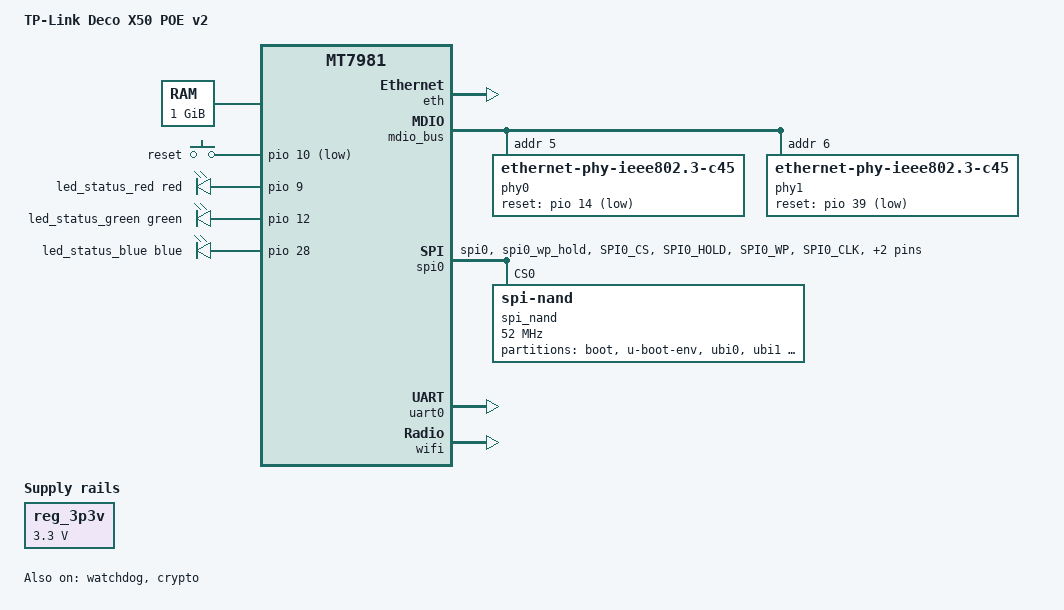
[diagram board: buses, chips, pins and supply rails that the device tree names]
// SPDX-License-Identifier: GPL-2.0-or-later OR MIT

/dts-v1/;

#include <dt-bindings/gpio/gpio.h>
#include <dt-bindings/input/input.h>
#include <dt-bindings/leds/common.h>
#include "mt7981b.dtsi"

/ {
	model = "TP-Link Deco X50 POE v2";
	compatible = "tplink,x50poev2", "mediatek,mt7981";

    //OK
	aliases {
        ethernet0 = &gmac0;
        ethernet1 = &gmac1;
		led-boot = &led_status_green;
		led-failsafe = &led_status_red;
		led-running = &led_status_green;
		led-upgrade = &led_status_blue;
		serial0 = &uart0;
	};

    //OK
	chosen {
		stdout-path = "serial0:115200n8";
		bootargs-override = "ubi.mtd=ubi0 console=ttyS0,115200n8 rootwait";
	};

    //OK
	memory@40000000 {
		reg = <0 0x40000000 0 0x40000000>;
	};

    //OK
	reg_3p3v: regulator-3p3v {
		compatible = "regulator-fixed";
		regulator-name = "fixed-3.3V";
		regulator-min-microvolt = <3300000>;
		regulator-max-microvolt = <3300000>;
		regulator-boot-on;
		regulator-always-on;
	};

    //OK
    gpio-keys {
		compatible = "gpio-keys";

		reset {
			label = "reset";
			linux,code = <KEY_RESTART>;
			gpios = <&pio 10 GPIO_ACTIVE_LOW>;
		};
	};

    //OK
	gpio-leds {
		compatible = "gpio-leds";

		led_status_red: led-0 {
			color = <LED_COLOR_ID_RED>;
			function = LED_FUNCTION_STATUS;
			gpios = <&pio 9 GPIO_ACTIVE_HIGH>;
		};

		led_status_green: led-1 {
            color = <LED_COLOR_ID_GREEN>;
			function = LED_FUNCTION_STATUS;
			gpios = <&pio 12 GPIO_ACTIVE_HIGH>;
		};

		led_status_blue: led-2 {
            color = <LED_COLOR_ID_BLUE>;
			function = LED_FUNCTION_STATUS;
			gpios = <&pio 28 GPIO_ACTIVE_HIGH>;
		};
	};
};

//OK
&eth {
	pinctrl-names = "default";
	pinctrl-0 = <&mdio_pins>;
	status = "okay";

	gmac0: mac@0 {
		compatible = "mediatek,eth-mac";
		reg = <0>;
		phy-mode = "2500base-x";
		phy-handle = <&phy1>;
	};

	gmac1: mac@1 {
		compatible = "mediatek,eth-mac";
		reg = <1>;
		phy-mode = "2500base-x";
		phy-handle = <&phy0>;
	};
};

//OK - no interrupt in TP-Link DTS
&mdio_bus {
	phy0: ethernet-phy@5 {
		reg = <5>;
		compatible = "ethernet-phy-ieee802.3-c45";
		phy-mode = "2500base-x";
		reset-gpios = <&pio 14 GPIO_ACTIVE_LOW>;
		reset-assert-us = <100000>;
		reset-deassert-us = <100000>;
		realtek,aldps-enable;
	};

	phy1: ethernet-phy@6 {
		reg = <6>;
		compatible = "ethernet-phy-ieee802.3-c45";
		phy-mode = "2500base-x";
		reset-gpios = <&pio 39 GPIO_ACTIVE_LOW>;
		reset-assert-us = <100000>;
		reset-deassert-us = <100000>;
		realtek,aldps-enable;
	};
};

&spi0 {
	pinctrl-names = "default";
	pinctrl-0 = <&spi0_flash_pins>;
	status = "okay";

	spi_nand: flash@0 {
		#address-cells = <1>;
		#size-cells = <1>;
		compatible = "spi-nand";
		reg = <0>;

		spi-max-frequency = <52000000>;
		spi-tx-bus-width = <4>;
		spi-rx-bus-width = <4>;

		partitions {
			compatible = "fixed-partitions";
			#address-cells = <1>;
			#size-cells = <1>;

			partition@0 {
				label = "boot";
				reg = <0x00 0x200000>;
				read-only;
			};

			partition@200000 {
				label = "u-boot-env";
				reg = <0x200000 0x100000>;
				read-only;
			};

			partition@300000 {
				label = "ubi0";
				reg = <0x300000 0x2a00000>;
			};

			partition@2d00000 {
				label = "ubi1";
				reg = <0x2d00000 0x2a00000>;
				read-only;
			};

			partition@5800000 {
				label = "ubi_factory_data";
				reg = <0x5800000 0x900000>;
				read-only;
			};

			partition {
				label = "wholeflash";
				reg = <0x0 0x8000000>;
			};
		};
	};
};

//OK
&pio {
	spi0_flash_pins: spi0-pins {
		mux {
			function = "spi";
			groups = "spi0", "spi0_wp_hold";
		};

		conf-pu {
			pins = "SPI0_CS", "SPI0_HOLD", "SPI0_WP";
			drive-strength = <MTK_DRIVE_8mA>;
			bias-pull-up = <MTK_PUPD_SET_R1R0_11>;
		};

		conf-pd {
			pins = "SPI0_CLK", "SPI0_MOSI", "SPI0_MISO";
			drive-strength = <MTK_DRIVE_8mA>;
			bias-pull-down = <MTK_PUPD_SET_R1R0_11>;
		};
	};
};

//OK
&uart0 {
	status = "okay";
};

//OK
&watchdog {
	status = "okay";
};

//OK
&crypto {
	status = "okay";
};

//OK, fixes ETH0 not working
&sgmiisys0 {
	/delete-property/ mediatek,pnswap;
};

&wifi {
	status = "okay";
};
